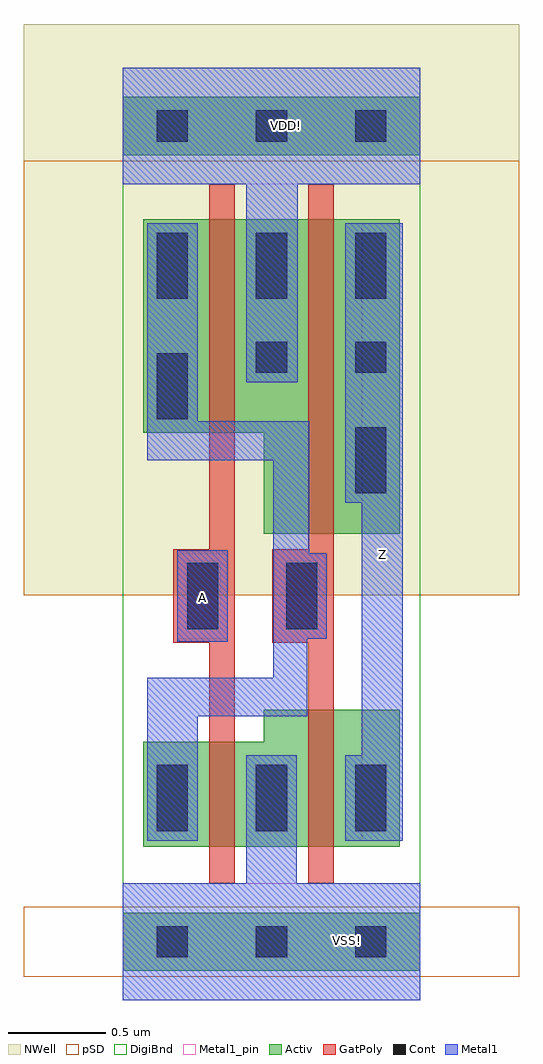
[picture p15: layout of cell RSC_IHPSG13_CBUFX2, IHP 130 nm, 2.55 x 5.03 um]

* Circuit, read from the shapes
.subckt RSC_IHPSG13_CBUFX2 A VDD! VSS! Z
XM1 VSS! A n1 VSS! sg13_lv_nmos w=0.54u l=0.13u
XM2 Z n1 VSS! VSS! sg13_lv_nmos w=0.705u l=0.13u
XM3 VDD! A n1 VDD! sg13_lv_pmos w=1.1u l=0.13u
XM4 Z n1 VDD! VDD! sg13_lv_pmos w=1.62u l=0.13u
.ends

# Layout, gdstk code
import gdstk
lib = gdstk.Library(unit=1e-6, precision=1e-09)
def R(c, l, rs):  # rectangles x0, y0, x1, y1
    for r in rs: c.add(gdstk.rectangle(r[:2], r[2:], *l))
def A(c, l, x, y, w, h, nx, ny, dx, dy):  # array of equal rectangles
    R(c, l, [(x+i*dx, y+j*dy, x+i*dx+w, y+j*dy+h) for i in range(nx) for j in range(ny)])
def P(c, l, *ps):  # polygons
    for p in ps: c.add(gdstk.Polygon(p, *l))
Activ = (1, 0)
GatPoly = (5, 0)
Cont = (6, 0)
Metal1 = (8, 0)
Metal1_pin = (8, 2)
pSD = (14, 0)
DigiBnd = (16, 0)
NWell = (31, 0)

rsc_ihpsg13_cbufx2 = lib.new_cell('RSC_IHPSG13_CBUFX2')
R(rsc_ihpsg13_cbufx2, Activ, [(0,-0.15,1.53,0.15), (0,4.05,1.53,4.35)])
P(rsc_ihpsg13_cbufx2, Activ, [(0.105,0.49),(0.105,1.03),(0.725,1.03),(0.725,1.195),(1.425,1.195),(1.425,0.49)],
  [(0.725,2.1),(0.725,2.62),(0.105,2.62),(0.105,3.72),(1.425,3.72),(1.425,2.1)])
P(rsc_ihpsg13_cbufx2, GatPoly, [(0.955,0.3),(0.955,1.54),(0.77,1.54),(0.77,2.02),(0.955,2.02),(0.955,3.9),(1.085,3.9),(1.085,0.3)],
  [(0.445,0.3),(0.445,1.54),(0.26,1.54),(0.26,2.02),(0.445,2.02),(0.445,3.9),(0.575,3.9),(0.575,0.3)])
A(rsc_ihpsg13_cbufx2, Cont, 0.175, -0.08, 0.16, 0.16, 3, 2, 0.51, 4.2)
A(rsc_ihpsg13_cbufx2, Cont, 0.175, 0.57, 0.16, 0.34, 3, 2, 0.51, 2.74)
R(rsc_ihpsg13_cbufx2, Cont, [(0.33,1.61,0.49,1.95), (0.84,1.61,1,1.95), (1.195,2.31,1.355,2.65), (0.175,2.69,0.335,3.03), (0.685,2.93,0.845,3.09), (1.195,2.93,1.355,3.09)])
R(rsc_ihpsg13_cbufx2, Metal1, [(0.28,1.545,0.54,2.015)])
P(rsc_ihpsg13_cbufx2, Metal1, [(1.145,0.52),(1.145,0.96),(1.23,0.96),(1.23,2.26),(1.145,2.26),(1.145,3.7),(1.44,3.7),(1.44,0.52)],
  [(0.635,2.88),(0.635,3.9),(0,3.9),(0,4.5),(1.53,4.5),(1.53,3.9),(0.9,3.9),(0.9,2.88)],
  [(0.125,0.52),(0.125,1.36),(0.775,1.36),(0.775,2.48),(0.125,2.48),(0.125,3.7),(0.385,3.7),(0.385,2.68),(0.96,2.68),(0.96,2),(1.05,2),(1.05,1.56),(0.95,1.56),(0.95,1.16),(0.385,1.16),(0.385,0.52)],
  [(0,-0.3),(0,0.3),(0.635,0.3),(0.635,0.96),(0.895,0.96),(0.895,0.3),(1.53,0.3),(1.53,-0.3)])
R(rsc_ihpsg13_cbufx2, Metal1_pin, [(0,-0.3,1.53,0.3), (1.23,0.52,1.44,3.7), (0.28,1.56,0.54,2), (0,3.9,1.53,4.5)])
R(rsc_ihpsg13_cbufx2, pSD, [(-0.51,-0.18,2.04,0.18), (-0.51,1.785,2.04,4.02)])
R(rsc_ihpsg13_cbufx2, DigiBnd, [(0,-0.3,1.53,4.5)])
R(rsc_ihpsg13_cbufx2, NWell, [(-0.51,1.785,2.04,4.725)])
rsc_ihpsg13_cbufx2.add(gdstk.Label('A', (0.41,1.77), layer=8, texttype=2))
rsc_ihpsg13_cbufx2.add(gdstk.Label('Z', (1.335,1.995), layer=8, texttype=2))
rsc_ihpsg13_cbufx2.add(gdstk.Label('VSS!', (1.155,0.005), layer=8, texttype=2))
rsc_ihpsg13_cbufx2.add(gdstk.Label('VDD!', (0.84,4.2), layer=8, texttype=2))

lib.write_gds('RSC_IHPSG13_CBUFX2.gds')
